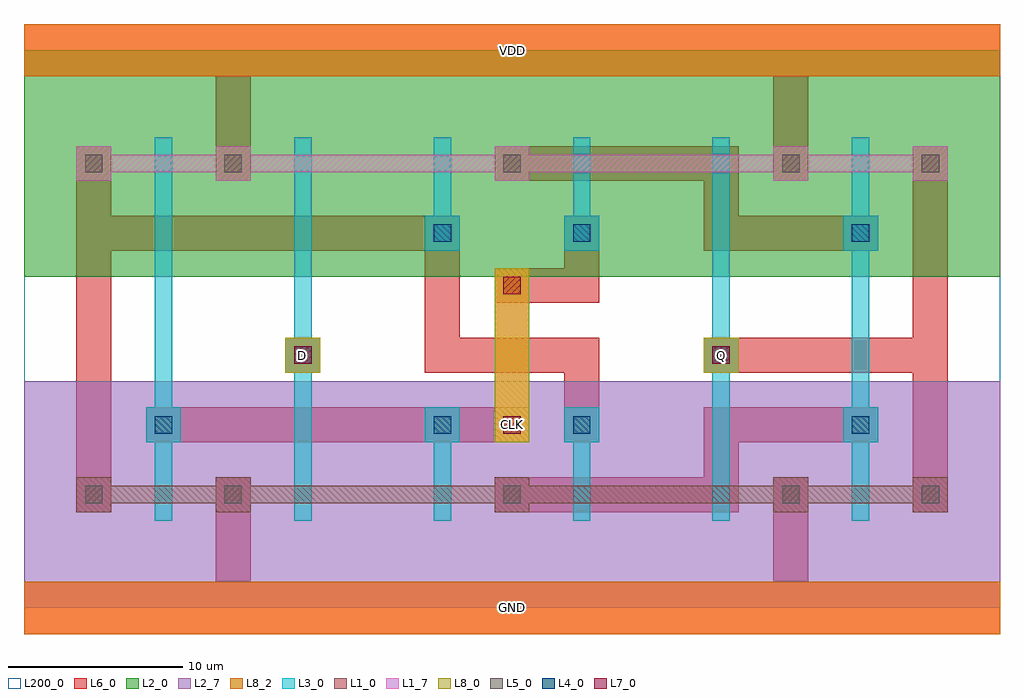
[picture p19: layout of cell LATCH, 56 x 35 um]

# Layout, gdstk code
import gdstk
lib = gdstk.Library(unit=1e-6, precision=1e-09)
def R(c, l, rs):  # rectangles x0, y0, x1, y1
    for r in rs: c.add(gdstk.rectangle(r[:2], r[2:], *l))
def A(c, l, x, y, w, h, nx, ny, dx, dy):  # array of equal rectangles
    R(c, l, [(x+i*dx, y+j*dy, x+i*dx+w, y+j*dy+h) for i in range(nx) for j in range(ny)])
def P(c, l, *ps):  # polygons
    for p in ps: c.add(gdstk.Polygon(p, *l))
L1_0 = (1, 0)
L1_7 = (1, 7)
L2_0 = (2, 0)
L2_7 = (2, 7)
L3_0 = (3, 0)
L4_0 = (4, 0)
L5_0 = (5, 0)
L6_0 = (6, 0)
L7_0 = (7, 0)
L8_0 = (8, 0)
L8_2 = (8, 2)
L200_0 = (200, 0)

latch = lib.new_cell('LATCH')
P(latch, L1_0, [(3,5.5),(3,7.5),(5,7.5),(5,7),(11,7),(11,7.5),(13,7.5),(13,7),(27,7),(27,7.5),(29,7.5),(29,7),(43,7),(43,7.5),(45,7.5),(45,7),(51,7),(51,7.5),(53,7.5),(53,5.5),(51,5.5),(51,6),(45,6),(45,5.5),(43,5.5),(43,6),(29,6),(29,5.5),(27,5.5),(27,6),(13,6),(13,5.5),(11,5.5),(11,6),(5,6),(5,5.5)])
P(latch, L1_7, [(3,24.5),(3,26.5),(5,26.5),(5,26),(11,26),(11,26.5),(13,26.5),(13,26),(27,26),(27,26.5),(29,26.5),(29,26),(43,26),(43,26.5),(45,26.5),(45,26),(51,26),(51,26.5),(53,26.5),(53,24.5),(51,24.5),(51,25),(45,25),(45,24.5),(43,24.5),(43,25),(29,25),(29,24.5),(27,24.5),(27,25),(13,25),(13,24.5),(11,24.5),(11,25),(5,25),(5,24.5)])
R(latch, L2_0, [(0,19,56,32)])
R(latch, L2_7, [(0,0,56,13)])
P(latch, L3_0, [(23.5,5),(23.5,9.5),(23,9.5),(23,11.5),(25,11.5),(25,9.5),(24.5,9.5),(24.5,5)],
  [(31.5,5),(31.5,9.5),(31,9.5),(31,11.5),(33,11.5),(33,9.5),(32.5,9.5),(32.5,5)],
  [(7.5,5),(7.5,9.5),(7,9.5),(7,11.5),(7.5,11.5),(7.5,27),(8.5,27),(8.5,11.5),(9,11.5),(9,9.5),(8.5,9.5),(8.5,5)],
  [(15.5,5),(15.5,13.5),(15,13.5),(15,15.5),(15.5,15.5),(15.5,27),(16.5,27),(16.5,15.5),(17,15.5),(17,13.5),(16.5,13.5),(16.5,5)],
  [(23,20.5),(23,22.5),(23.5,22.5),(23.5,27),(24.5,27),(24.5,22.5),(25,22.5),(25,20.5)],
  [(31,20.5),(31,22.5),(31.5,22.5),(31.5,27),(32.5,27),(32.5,22.5),(33,22.5),(33,20.5)],
  [(39.5,5),(39.5,13.5),(39,13.5),(39,15.5),(39.5,15.5),(39.5,27),(40.5,27),(40.5,15.5),(41,15.5),(41,13.5),(40.5,13.5),(40.5,5)],
  [(47.5,5),(47.5,9.5),(47,9.5),(47,11.5),(47.5,11.5),(47.5,20.5),(47,20.5),(47,22.5),(47.5,22.5),(47.5,27),(48.5,27),(48.5,22.5),(49,22.5),(49,20.5),(48.5,20.5),(48.5,11.5),(49,11.5),(49,9.5),(48.5,9.5),(48.5,5)])
R(latch, L4_0, [(7.5,10,8.5,11), (23.5,10,24.5,11), (31.5,10,32.5,11), (47.5,10,48.5,11), (15.5,14,16.5,15), (39.5,14,40.5,15), (23.5,21,24.5,22), (31.5,21,32.5,22), (47.5,21,48.5,22)])
A(latch, L5_0, 11.5, 6, 1, 1, 3, 2, 16, 19)
R(latch, L5_0, [(3.5,6,4.5,7), (51.5,6,52.5,7), (3.5,25,4.5,26), (51.5,25,52.5,26)])
R(latch, L6_0, [(7,9.5,29,11.5), (15,13.5,17,15.5)])
P(latch, L6_0, [(0,-1.5),(0,1.5),(11,1.5),(11,7.5),(13,7.5),(13,1.5),(43,1.5),(43,7.5),(45,7.5),(45,1.5),(56,1.5),(56,-1.5)],
  [(27,5.5),(27,7.5),(39,7.5),(39,11.5),(49,11.5),(49,9.5),(41,9.5),(41,5.5)],
  [(27,17.5),(27,19.5),(31,19.5),(31,22.5),(33,22.5),(33,17.5)],
  [(3,5.5),(3,26.5),(5,26.5),(5,22.5),(25,22.5),(25,15.5),(33,15.5),(33,9.5),(31,9.5),(31,13.5),(23,13.5),(23,20.5),(5,20.5),(5,5.5)],
  [(39,20.5),(39,24.5),(27,24.5),(27,26.5),(41,26.5),(41,22.5),(49,22.5),(49,20.5)],
  [(51,5.5),(51,13.5),(39,13.5),(39,15.5),(51,15.5),(51,26.5),(53,26.5),(53,5.5)],
  [(11,24.5),(11,30.5),(0,30.5),(0,33.5),(56,33.5),(56,30.5),(45,30.5),(45,24.5),(43,24.5),(43,30.5),(13,30.5),(13,24.5)])
R(latch, L7_0, [(27.5,10,28.5,11), (15.5,14,16.5,15), (39.5,14,40.5,15), (27.5,18,28.5,19)])
R(latch, L8_0, [(27,9.5,29,19.5), (15,13.5,17,15.5), (39,13.5,41,15.5)])
R(latch, L8_2, [(27,9.5,29,19.5), (15,13.5,17,15.5), (39,13.5,41,15.5)])
R(latch, L200_0, [(0,0,56,32)])
latch.add(gdstk.FlexPath([(0,32),(56,32)], 3, ends="flush", simple_path=True, layer=8, datatype=2))  # L8_2
latch.add(gdstk.FlexPath([(0,0),(56,0)], 3, ends="flush", simple_path=True, layer=8, datatype=2))  # L8_2
latch.add(gdstk.Label('GND', (28,0), layer=6, texttype=1))
latch.add(gdstk.Label('VDD', (28,32), layer=6, texttype=1))
latch.add(gdstk.Label('CLK', (28,10.5), layer=8, texttype=1))
latch.add(gdstk.Label('D', (16,14.5), layer=8, texttype=1))
latch.add(gdstk.Label('Q', (40,14.5), layer=8, texttype=1))

lib.write_gds('LATCH.gds')
